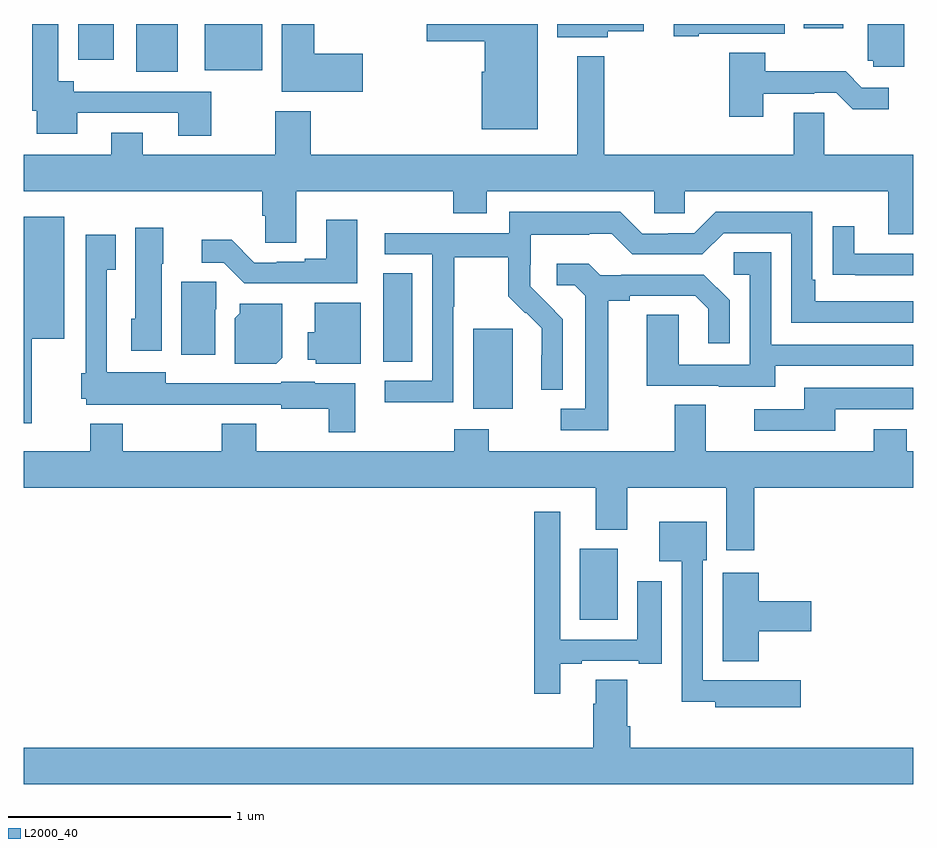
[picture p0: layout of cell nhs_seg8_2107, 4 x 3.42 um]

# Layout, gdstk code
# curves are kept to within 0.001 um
import gdstk
lib = gdstk.Library(unit=1e-6, precision=1e-09)
def R(c, l, rs):  # rectangles x0, y0, x1, y1
    for r in rs: c.add(gdstk.rectangle(r[:2], r[2:], *l))
def P(c, l, *ps):  # polygons
    for p in ps: c.add(gdstk.Polygon(p, *l))
L2000_40 = (2000, 40)

nhs_seg8_2107 = lib.new_cell('nhs_seg8_2107')
R(nhs_seg8_2107, L2000_40, [(245.501,1133.222,245.671,1133.542), (245.021,1134.17,245.2,1134.531), (244.616,1134.382,244.747,1134.779), (243.506,1135.685,243.694,1135.9), (243.815,1135.691,244.072,1135.9), (243.245,1135.74,243.406,1135.9), (246.507,1135.88,246.685,1135.9)])
P(nhs_seg8_2107, L2000_40, [(243.843,1135.596),(243.226,1135.596),(243.226,1135.642),(243.156,1135.642),(243.156,1135.9),(243.04,1135.9),(243.04,1135.51),(243.059,1135.51),(243.059,1135.406),(243.241,1135.406),(243.241,1135.5),(243.695,1135.5),(243.695,1135.398),(243.843,1135.398)],
  [(246.958,1135.9),(246.794,1135.9),(246.794,1135.734),(246.819,1135.734),(246.819,1135.707),(246.958,1135.707)],
  [(244.525,1135.766),(244.307,1135.766),(244.307,1135.9),(244.16,1135.9),(244.16,1135.595),(244.525,1135.595)],
  [(245.311,1135.9),(244.812,1135.9),(244.812,1135.823),(245.072,1135.823),(245.072,1135.686),(245.06,1135.686),(245.06,1135.427),(245.311,1135.427)],
  [(246.034,1135.856),(246.422,1135.856),(246.422,1135.9),(245.922,1135.9),(245.922,1135.844),(246.034,1135.844)],
  [(245.626,1135.868),(245.788,1135.868),(245.788,1135.9),(245.399,1135.9),(245.399,1135.841),(245.626,1135.841)],
  [(246.325,1135.587),(246.554,1135.587),(246.554,1135.59),(246.654,1135.59),(246.727,1135.517),(246.889,1135.517),(246.889,1135.614),(246.768,1135.614),(246.695,1135.687),(246.333,1135.687),(246.333,1135.771),(246.173,1135.771),(246.173,1135.482),(246.325,1135.482)],
  [(244.225,1135.148),(244.931,1135.148),(244.931,1135.049),(245.083,1135.049),(245.083,1135.148),(245.835,1135.148),(245.835,1135.05),(245.973,1135.05),(245.973,1135.148),(246.887,1135.148),(246.887,1134.954),(247,1134.954),(247,1135.312),(246.6,1135.312),(246.6,1135.502),(246.461,1135.502),(246.461,1135.312),(245.611,1135.312),(245.611,1135.756),(245.489,1135.756),(245.489,1135.312),(244.292,1135.312),(244.292,1135.507),(244.132,1135.507),(244.132,1135.312),(243.535,1135.312),(243.535,1135.411),(243.395,1135.411),(243.395,1135.312),(243,1135.312),(243,1135.148),(244.073,1135.148),(244.073,1135.038),(244.086,1135.038),(244.086,1134.916),(244.225,1134.916)],
  [(244.932,1134.628),(244.935,1134.628),(244.935,1134.852),(245.179,1134.852),(245.179,1134.677),(245.256,1134.6),(245.259,1134.603),(245.33,1134.533),(245.33,1134.41),(245.328,1134.41),(245.328,1134.256),(245.424,1134.256),(245.424,1134.574),(245.278,1134.722),(245.278,1134.819),(245.28,1134.819),(245.28,1134.953),(245.543,1134.953),(245.543,1134.957),(245.643,1134.957),(245.736,1134.864),(246.051,1134.864),(246.147,1134.96),(246.45,1134.96),(246.45,1134.558),(247,1134.558),(247,1134.654),(246.559,1134.654),(246.559,1134.751),(246.546,1134.751),(246.546,1135.056),(246.111,1135.056),(246.015,1134.96),(245.897,1134.96),(245.897,1134.957),(245.781,1134.957),(245.681,1135.057),(245.184,1135.057),(245.184,1134.96),(244.623,1134.96),(244.623,1134.864),(244.836,1134.864),(244.836,1134.297),(244.623,1134.297),(244.623,1134.199),(244.932,1134.199)],
  [(243.037,1134.485),(243.184,1134.485),(243.184,1135.033),(243,1135.033),(243,1134.105),(243.037,1134.105)],
  [(244.501,1135.021),(244.361,1135.021),(244.361,1134.844),(244.265,1134.844),(244.265,1134.831),(244.138,1134.831),(244.138,1134.828),(244.038,1134.828),(243.936,1134.931),(243.801,1134.931),(243.801,1134.828),(243.9,1134.828),(243.993,1134.735),(244.501,1134.735)],
  [(247,1134.867),(246.733,1134.867),(246.733,1134.991),(246.637,1134.991),(246.637,1134.772),(246.739,1134.772),(246.739,1134.771),(247,1134.771)],
  [(243.622,1134.822),(243.628,1134.822),(243.628,1134.985),(243.503,1134.985),(243.503,1134.576),(243.485,1134.576),(243.485,1134.432),(243.622,1134.432)],
  [(244.492,1134.286),(244.308,1134.286),(244.308,1134.292),(244.158,1134.292),(244.158,1134.285),(243.64,1134.285),(243.64,1134.334),(243.375,1134.334),(243.375,1134.796),(243.415,1134.796),(243.415,1134.952),(243.279,1134.952),(243.279,1134.33),(243.26,1134.33),(243.26,1134.216),(243.282,1134.216),(243.282,1134.188),(243.636,1134.188),(243.636,1134.189),(244.158,1134.189),(244.158,1134.17),(244.371,1134.17),(244.371,1134.065),(244.492,1134.065)],
  [(246.379,1134.363),(247,1134.363),(247,1134.459),(246.36,1134.459),(246.36,1134.875),(246.192,1134.875),(246.192,1134.774),(246.264,1134.774),(246.264,1134.369),(245.946,1134.369),(245.946,1134.593),(245.801,1134.593),(245.801,1134.273),(246.125,1134.273),(246.125,1134.269),(246.379,1134.269)],
  [(245.629,1134.656),(245.725,1134.656),(245.725,1134.678),(246.02,1134.678),(246.077,1134.621),(246.077,1134.465),(246.174,1134.465),(246.174,1134.658),(246.058,1134.774),(245.686,1134.774),(245.686,1134.771),(245.592,1134.771),(245.54,1134.823),(245.397,1134.823),(245.397,1134.726),(245.478,1134.726),(245.525,1134.679),(245.525,1134.171),(245.415,1134.171),(245.415,1134.075),(245.629,1134.075)],
  [(243.862,1134.618),(243.866,1134.618),(243.866,1134.741),(243.71,1134.741),(243.71,1134.414),(243.862,1134.414)],
  [(244.516,1134.646),(244.31,1134.646),(244.31,1134.514),(244.277,1134.514),(244.277,1134.392),(244.314,1134.392),(244.314,1134.374),(244.516,1134.374)],
  [(244.162,1134.4),(244.162,1134.643),(243.972,1134.643),(243.972,1134.6),(243.95,1134.578),(243.95,1134.374),(244.136,1134.374)],
  [(246.649,1134.168),(247,1134.168),(247,1134.264),(246.509,1134.264),(246.509,1134.168),(246.285,1134.168),(246.285,1134.072),(246.649,1134.072)],
  [(246.284,1133.816),(247,1133.816),(247,1133.98),(246.969,1133.98),(246.969,1134.079),(246.821,1134.079),(246.821,1133.98),(246.067,1133.98),(246.067,1134.188),(245.927,1134.188),(245.927,1133.98),(245.091,1133.98),(245.091,1134.079),(244.936,1134.079),(244.936,1133.98),(244.047,1133.98),(244.047,1134.104),(243.892,1134.104),(243.892,1133.98),(243.447,1133.98),(243.447,1134.103),(243.299,1134.103),(243.299,1133.98),(243,1133.98),(243,1133.816),(245.573,1133.816),(245.573,1133.627),(245.713,1133.627),(245.713,1133.816),(246.158,1133.816),(246.158,1133.535),(246.284,1133.535)],
  [(245.413,1133.025),(245.509,1133.025),(245.509,1133.037),(245.765,1133.037),(245.765,1133.025),(245.869,1133.025),(245.869,1133.395),(245.759,1133.395),(245.759,1133.133),(245.412,1133.133),(245.412,1133.707),(245.296,1133.707),(245.296,1132.89),(245.413,1132.89)],
  [(246.493,1132.951),(246.266,1132.951),(246.266,1132.95),(246.054,1132.95),(246.054,1133.49),(246.07,1133.49),(246.07,1133.662),(245.858,1133.662),(245.858,1133.486),(245.958,1133.486),(245.958,1132.853),(246.108,1132.853),(246.108,1132.829),(246.493,1132.829)],
  [(246.305,1133.171),(246.541,1133.171),(246.541,1133.306),(246.305,1133.306),(246.305,1133.434),(246.143,1133.434),(246.143,1133.036),(246.305,1133.036)],
  [(247,1132.648),(245.726,1132.648),(245.726,1132.744),(245.713,1132.744),(245.713,1132.952),(245.573,1132.952),(245.573,1132.844),(245.561,1132.844),(245.561,1132.648),(243,1132.648),(243,1132.484),(247,1132.484)])

lib.write_gds('nhs_seg8_2107.gds')
